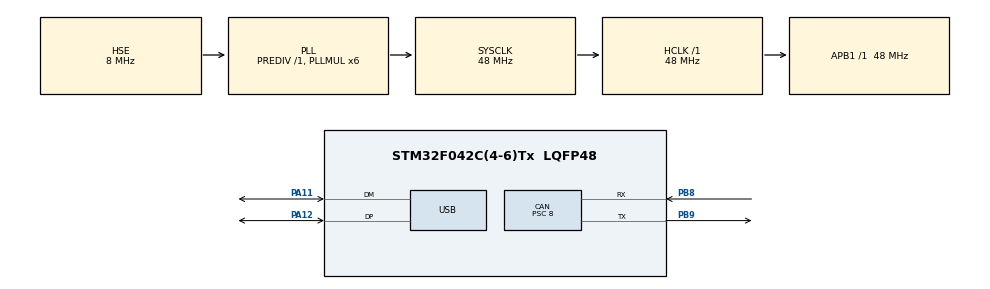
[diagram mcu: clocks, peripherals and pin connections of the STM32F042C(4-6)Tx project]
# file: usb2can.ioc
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CAN.BS1=CAN_BS1_3TQ
CAN.BS2=CAN_BS2_2TQ
CAN.CalculateTimeQuantum=166.66666666666666
CAN.Prescaler=8
Mcu.Family=STM32F0
Mcu.Name=STM32F042C(4-6)Tx
Mcu.Package=LQFP48
NVIC.CEC_CAN_IRQn=true\:0\:0\:false\:false\:true\:true\:true
NVIC.USB_IRQn=true\:0\:0\:false\:false\:true\:false\:true
PA11.Mode=Device
PA11.Signal=USB_DM
PA12.Mode=Device
PA12.Signal=USB_DP
PA13.Mode=Serial_Wire
PA13.Signal=SYS_SWDIO
PA14.Mode=Serial_Wire
PA14.Signal=SYS_SWCLK
PB8.Mode=Master
PB8.Signal=CAN_RX
PB9.Mode=Master
PB9.Signal=CAN_TX
PF0-OSC_IN.Mode=HSE-External-Oscillator
PF0-OSC_IN.Signal=RCC_OSC_IN
PF1-OSC_OUT.Mode=HSE-External-Oscillator
PF1-OSC_OUT.Signal=RCC_OSC_OUT
ProjectManager.HeapSize=0x200
ProjectManager.StackSize=0x200
ProjectManager.TargetToolchain=Makefile
RCC.AHBFreq_Value=48000000
RCC.APB1Freq_Value=48000000
RCC.APB1TimFreq_Value=48000000
RCC.HCLKFreq_Value=48000000
RCC.PLLMUL=RCC_PLL_MUL6
RCC.SYSCLKFreq_VALUE=48000000
RCC.SYSCLKSource=RCC_SYSCLKSOURCE_PLLCLK
RCC.USBClockSelection=RCC_USBCLKSOURCE_PLL
RCC.USBFreq_Value=48000000
USB_DEVICE.APP_RX_DATA_SIZE=500
USB_DEVICE.APP_TX_DATA_SIZE=500
USB_DEVICE.CLASS_NAME_FS=CDC
USB_DEVICE.VirtualMode=Cdc
USB_DEVICE.VirtualModeFS=Cdc_FS
VP_USB_DEVICE_VS_USB_DEVICE_CDC_FS.Mode=CDC_FS
board=custom

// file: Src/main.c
/* USER CODE BEGIN Header */
/**
  ******************************************************************************
  * @file           : main.c
  * @brief          : Main program body
  ******************************************************************************
  * @attention
  *
  * <h2><center>&copy; Copyright (c) 2019 STMicroelectronics.
  * All rights reserved.</center></h2>
  *
  * This software component is licensed by ST under Ultimate Liberty license
  * SLA0044, the "License"; You may not use this file except in compliance with
  * the License. You may obtain a copy of the License at:
  *                             www.st.com/SLA0044
  *
  ******************************************************************************
  */
/* USER CODE END Header */

#include "main.h"
#include "usb_device.h"

/* USER CODE BEGIN Includes */
#include "usbd_cdc_if.h"
/* USER CODE END Includes */

CAN_HandleTypeDef hcan;

void SystemClock_Config(void);
static void MX_GPIO_Init(void);
static void MX_CAN_Init(void);

int main(void)
{

  /* MCU Configuration--------------------------------------------------------*/

  /* Reset of all peripherals, Initializes the Flash interface and the Systick. */
  HAL_Init();

  /* Configure the system clock */
  SystemClock_Config();

  /* Initialize all configured peripherals */
  MX_GPIO_Init();
  MX_USB_DEVICE_Init();
  MX_CAN_Init();

  /* Infinite loop */
  while (1)
  {

  }
}

void SystemClock_Config(void)
{
  RCC_OscInitTypeDef RCC_OscInitStruct = {0};
  RCC_ClkInitTypeDef RCC_ClkInitStruct = {0};
  RCC_PeriphCLKInitTypeDef PeriphClkInit = {0};

  /** Initializes the CPU, AHB and APB busses clocks
  */
  RCC_OscInitStruct.OscillatorType = RCC_OSCILLATORTYPE_HSE;
  RCC_OscInitStruct.HSEState = RCC_HSE_ON;
  RCC_OscInitStruct.PLL.PLLState = RCC_PLL_ON;
  RCC_OscInitStruct.PLL.PLLSource = RCC_PLLSOURCE_HSE;
  RCC_OscInitStruct.PLL.PLLMUL = RCC_PLL_MUL6;
  RCC_OscInitStruct.PLL.PREDIV = RCC_PREDIV_DIV1;
  if (HAL_RCC_OscConfig(&RCC_OscInitStruct) != HAL_OK)
  {
    Error_Handler();
  }
  /** Initializes the CPU, AHB and APB busses clocks
  */
  RCC_ClkInitStruct.ClockType = RCC_CLOCKTYPE_HCLK|RCC_CLOCKTYPE_SYSCLK
                              |RCC_CLOCKTYPE_PCLK1;
  RCC_ClkInitStruct.SYSCLKSource = RCC_SYSCLKSOURCE_PLLCLK;
  RCC_ClkInitStruct.AHBCLKDivider = RCC_SYSCLK_DIV1;
  RCC_ClkInitStruct.APB1CLKDivider = RCC_HCLK_DIV1;

  if (HAL_RCC_ClockConfig(&RCC_ClkInitStruct, FLASH_LATENCY_1) != HAL_OK)
  {
    Error_Handler();
  }
  PeriphClkInit.PeriphClockSelection = RCC_PERIPHCLK_USB;
  PeriphClkInit.UsbClockSelection = RCC_USBCLKSOURCE_PLL;

  if (HAL_RCCEx_PeriphCLKConfig(&PeriphClkInit) != HAL_OK)
  {
    Error_Handler();
  }
}

static void MX_CAN_Init(void)
{

  /* USER CODE BEGIN CAN_Init 0 */
  CAN_FilterTypeDef can_filter;
  /* USER CODE END CAN_Init 0 */

  /* USER CODE BEGIN CAN_Init 1 */
  // bitrates = 48Mhz/(Presaler*(CAN_BS1_nTQ+CAN_BS2_nTQ+1))

  /* USER CODE END CAN_Init 1 */
  hcan.Instance = CAN;
  hcan.Init.Prescaler = 8;
  hcan.Init.Mode = CAN_MODE_NORMAL;
  hcan.Init.SyncJumpWidth = CAN_SJW_1TQ;
  hcan.Init.TimeSeg1 = CAN_BS1_3TQ;
  hcan.Init.TimeSeg2 = CAN_BS2_2TQ;
  hcan.Init.TimeTriggeredMode = DISABLE;
  hcan.Init.AutoBusOff = DISABLE;
  hcan.Init.AutoWakeUp = DISABLE;
  hcan.Init.AutoRetransmission = DISABLE;
  hcan.Init.ReceiveFifoLocked = DISABLE;
  hcan.Init.TransmitFifoPriority = DISABLE;
  if (HAL_CAN_Init(&hcan) != HAL_OK)
  {
    Error_Handler();
  }
  /* USER CODE BEGIN CAN_Init 2 */
  //config recv filter ,enable all ther recv
  can_filter.FilterBank = 0;
  can_filter.FilterFIFOAssignment = CAN_FILTER_FIFO0;
  can_filter.FilterMode = CAN_FILTERMODE_IDMASK;
  can_filter.FilterScale = CAN_FILTERSCALE_32BIT;
  can_filter.FilterIdLow = 0;
  can_filter.FilterIdHigh = 0;
  can_filter.FilterMaskIdLow = 0;
  can_filter.FilterMaskIdHigh = 0;
  can_filter.FilterActivation = CAN_FILTER_ENABLE;
  HAL_CAN_ConfigFilter(&hcan,&can_filter);
  // enable can rx interrupt
  HAL_CAN_ActivateNotification(&hcan,CAN_IT_RX_FIFO0_MSG_PENDING);
  //default enable the can (enabled by slcan cmd)
  //HAL_CAN_Start(&hcan);
  /* USER CODE END CAN_Init 2 */

}

static void MX_GPIO_Init(void)
{

  /* GPIO Ports Clock Enable */
  __HAL_RCC_GPIOF_CLK_ENABLE();
  __HAL_RCC_GPIOA_CLK_ENABLE();
  __HAL_RCC_GPIOB_CLK_ENABLE();

}

/* USER CODE BEGIN 4 */
void function_test()
{
    //usb serial test
    HAL_Delay(500);
    CDC_Transmit_FS((uint8_t*)"t1234DEADBEEF\r",14);
    HAL_Delay(500);
    CDC_Transmit_FS((uint8_t*)"t1234DEADBEE8\r",14);

    //can test
    CAN_TxHeaderTypeDef can_tx_header;
    CAN_RxHeaderTypeDef can_rx_header;
    can_tx_header.DLC=8;
    can_tx_header.IDE = CAN_ID_STD;
    can_tx_header.RTR = CAN_RTR_DATA;
    can_tx_header.StdId = 0x33;
    uint32_t txmail;
    uint8_t can_tx_buf[8]={1,2,3,4,5,6,7,8};
    uint8_t can_rx_buf[8]={0};

    HAL_CAN_AddTxMessage(&hcan,&can_tx_header,can_tx_buf,&txmail); //send test

    if (HAL_CAN_GetRxMessage(&hcan,CAN_RX_FIFO0,&can_rx_header,can_rx_buf) == HAL_OK)
    { //recv test
      can_tx_header.DLC = can_rx_header.DLC;
      can_tx_header.ExtId = can_rx_header.ExtId;
      can_tx_header.IDE  = can_rx_header.IDE;
      can_tx_header.RTR = can_rx_header.RTR;
      can_tx_header.StdId = can_rx_header.StdId;
      HAL_CAN_AddTxMessage(&hcan,&can_tx_header,can_rx_buf,&txmail);
    }
}

/* USER CODE END 4 */

void Error_Handler(void)
{
}

/************************ (C) COPYRIGHT STMicroelectronics *****END OF FILE****/
